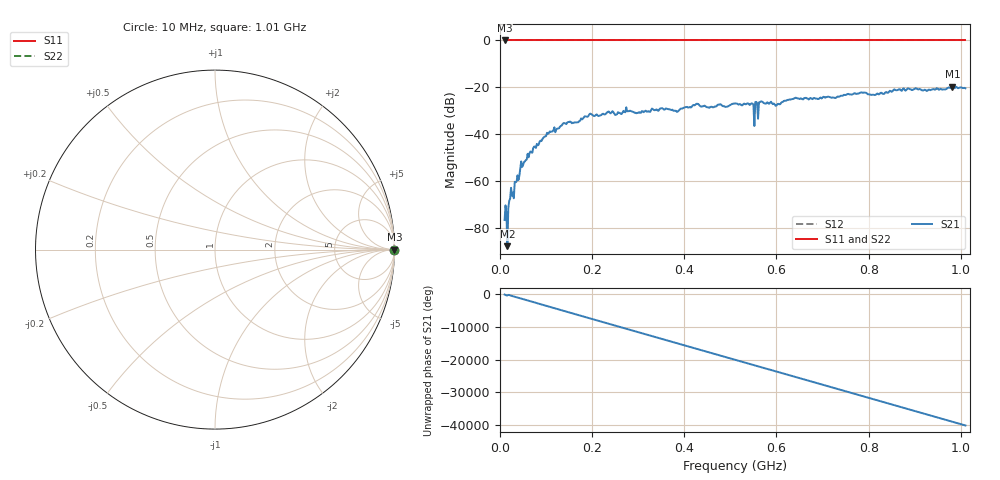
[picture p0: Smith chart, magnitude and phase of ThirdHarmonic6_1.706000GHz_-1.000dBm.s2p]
! 8/16/2025 8:30:59 PM
! C:\ANRITSUVNA\TEMP\TEMP.S2P
! CHANNEL.1
! TR.MEASUREMENT
! RAW.DATA
! RF.CORRECTION.OFF
! AVERAGING.OFF
! IF.BANDWIDTH: 5KHZ
! SWEEPTYPE:  FREQ.SWEEP(Linear)
! Reference Plane Port Info
! PORT:  PORT1  PORT2
! DISTANCE:  0  m  0  m
! TIME:  0  s  0  s
! PHASE.OFFSET:  0  deg.  0  deg.
! LOSS:  0  dB  0  dB
! REF.LOSS:  0  dB  0  dB
! REF.FREQ:  0  Hz  0  Hz
! Power Info
! POWER:  -20  dBm  -20  dBm
! EFF.POWER:  -20  dBm  -20  dBm
! SOURCE.ATTEN:  0  dB  0  dB
! TEST.ATTEN:  0  dB  0  dB
# GHZ S RI R 50.0
! FREQ.GHZ  S11RE  S11IM  S21RE  S21IM  S12RE  S12IM  S22RE  S22IM
!; PortSelection: Port_12
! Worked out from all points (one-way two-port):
!   501 points, 10 MHz to 1.01 GHz, reference 50 ohm
!   highest |S21| = -19.63 dB at 982 MHz (marker M1); lowest = -87.7 dB at 16 MHz (marker M2)
!   lowest |S11| = 0.0 dB at 10 MHz (marker M3)
!   |S11| at or under -10 dB: nowhere
!   |S22| runs from 0.0 to 0.0 dB; largest |S21 - S12| = 1.1
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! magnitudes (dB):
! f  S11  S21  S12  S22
! 10 MHz  0.0  -76.5  0.0  0.0
! 12 MHz  0.0  -70.3  0.0  0.0
! 16 MHz  0.0  -87.7  0.0  0.0
! 24 MHz  0.0  -62.8  0.0  0.0
! 48 MHz  0.0  -53.9  0.0  0.0
! 76 MHz  0.0  -45.3  0.0  0.0
! 136 MHz  0.0  -35.6  0.0  0.0
! 178 MHz  0.0  -33.6  0.0  0.0
! 196 MHz  0.0  -31.2  0.0  0.0
! 344 MHz  0.0  -29.9  0.0  0.0
! 510 MHz  0.0  -26.9  0.0  0.0
! 546 MHz  0.0  -26.8  0.0  0.0
! 548 MHz  0.0  -26.9  0.0  0.0
! 556 MHz  0.0  -26.2  0.0  0.0
! 558 MHz  0.0  -26.7  0.0  0.0
! 566 MHz  0.0  -26.0  0.0  0.0
! 602 MHz  0.0  -27.2  0.0  0.0
! 640 MHz  0.0  -24.5  0.0  0.0
! 678 MHz  0.0  -25.0  0.0  0.0
! 844 MHz  0.0  -22.0  0.0  0.0
! 982 MHz  0.0  -19.6  0.0  0.0
! 1.01 GHz  0.0  -20.4  0.0  0.0
